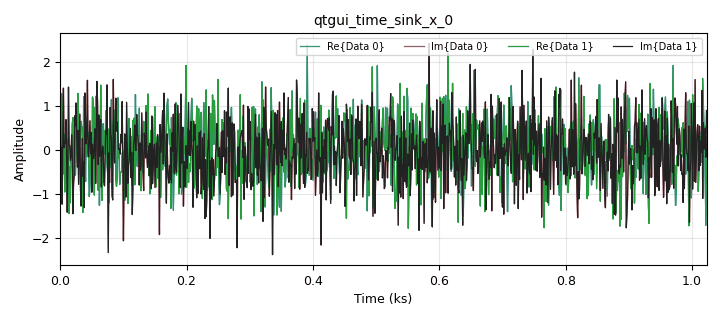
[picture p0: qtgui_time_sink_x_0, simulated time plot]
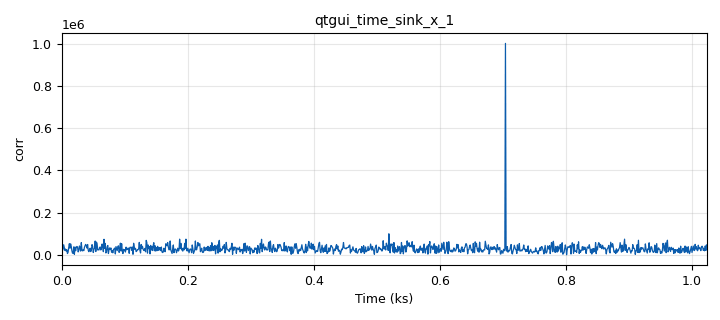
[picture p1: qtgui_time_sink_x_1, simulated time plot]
options:
  parameters:
    generate_options: qt_gui
    id: correlation_gnuradio
    output_language: python
    title: Not titled yet
  states: {}

blocks:
- name: delay
  id: variable_qtgui_range
  parameters:
    start: '-nfft'
    step: '1'
    stop: nfft
    value: '0'
  states: {}
- name: nfft
  id: variable
  parameters:
    value: '1024'
  states: {}
- name: samp_rate
  id: variable
  parameters:
    value: 1e6
  states: {}
- name: analog_noise_source_x_0
  id: analog_noise_source_x
  parameters:
    amp: '1'
    noise_type: analog.GR_GAUSSIAN
    seed: '0'
    type: complex
  states: {}
- name: blocks_complex_to_mag_0
  id: blocks_complex_to_mag
  parameters: {}
  states: {}
- name: blocks_delay_0
  id: blocks_delay
  parameters:
    delay: delay
    type: complex
  states: {}
- name: blocks_multiply_conjugate_cc_0
  id: blocks_multiply_conjugate_cc
  parameters:
    vlen: nfft
  states: {}
- name: blocks_stream_to_vector_0_0
  id: blocks_stream_to_vector
  parameters:
    num_items: nfft
    type: complex
  states: {}
- name: blocks_stream_to_vector_0_0_0
  id: blocks_stream_to_vector
  parameters:
    num_items: nfft
    type: complex
  states: {}
- name: blocks_vector_to_stream_0
  id: blocks_vector_to_stream
  parameters:
    num_items: nfft
    type: complex
  states: {}
- name: fft_vxx_0
  id: fft_vxx
  parameters:
    fft_size: nfft
    forward: 'True'
    shift: 'False'
    type: complex
    window: window.rectangular(nfft)
  states: {}
- name: fft_vxx_0_0
  id: fft_vxx
  parameters:
    fft_size: nfft
    forward: 'True'
    shift: 'False'
    type: complex
    window: window.rectangular(nfft)
  states: {}
- name: fft_vxx_0_0_0
  id: fft_vxx
  parameters:
    fft_size: nfft
    forward: 'False'
    shift: 'False'
    type: complex
    window: window.rectangular(nfft)
  states: {}
- name: qtgui_time_sink_x_0
  id: qtgui_time_sink_x
  parameters:
    autoscale: 'True'
    nconnections: '2'
    size: '1024'
    srate: '1'
    type: complex
  states: {}
- name: qtgui_time_sink_x_1
  id: qtgui_time_sink_x
  parameters:
    autoscale: 'True'
    legend: 'False'
    size: nfft
    srate: '1'
    type: float
    ylabel: corr
  states: {}

connections:
- [analog_noise_source_x_0, '0', blocks_delay_0, '0']
- [analog_noise_source_x_0, '0', blocks_stream_to_vector_0_0, '0']
- [analog_noise_source_x_0, '0', qtgui_time_sink_x_0, '0']
- [blocks_complex_to_mag_0, '0', qtgui_time_sink_x_1, '0']
- [blocks_delay_0, '0', blocks_stream_to_vector_0_0_0, '0']
- [blocks_delay_0, '0', qtgui_time_sink_x_0, '1']
- [blocks_multiply_conjugate_cc_0, '0', fft_vxx_0_0_0, '0']
- [blocks_stream_to_vector_0_0, '0', fft_vxx_0, '0']
- [blocks_stream_to_vector_0_0_0, '0', fft_vxx_0_0, '0']
- [blocks_vector_to_stream_0, '0', blocks_complex_to_mag_0, '0']
- [fft_vxx_0, '0', blocks_multiply_conjugate_cc_0, '0']
- [fft_vxx_0_0, '0', blocks_multiply_conjugate_cc_0, '1']
- [fft_vxx_0_0_0, '0', blocks_vector_to_stream_0, '0']

metadata:
  file_format: 1
  grc_version: 3.10.7.0
